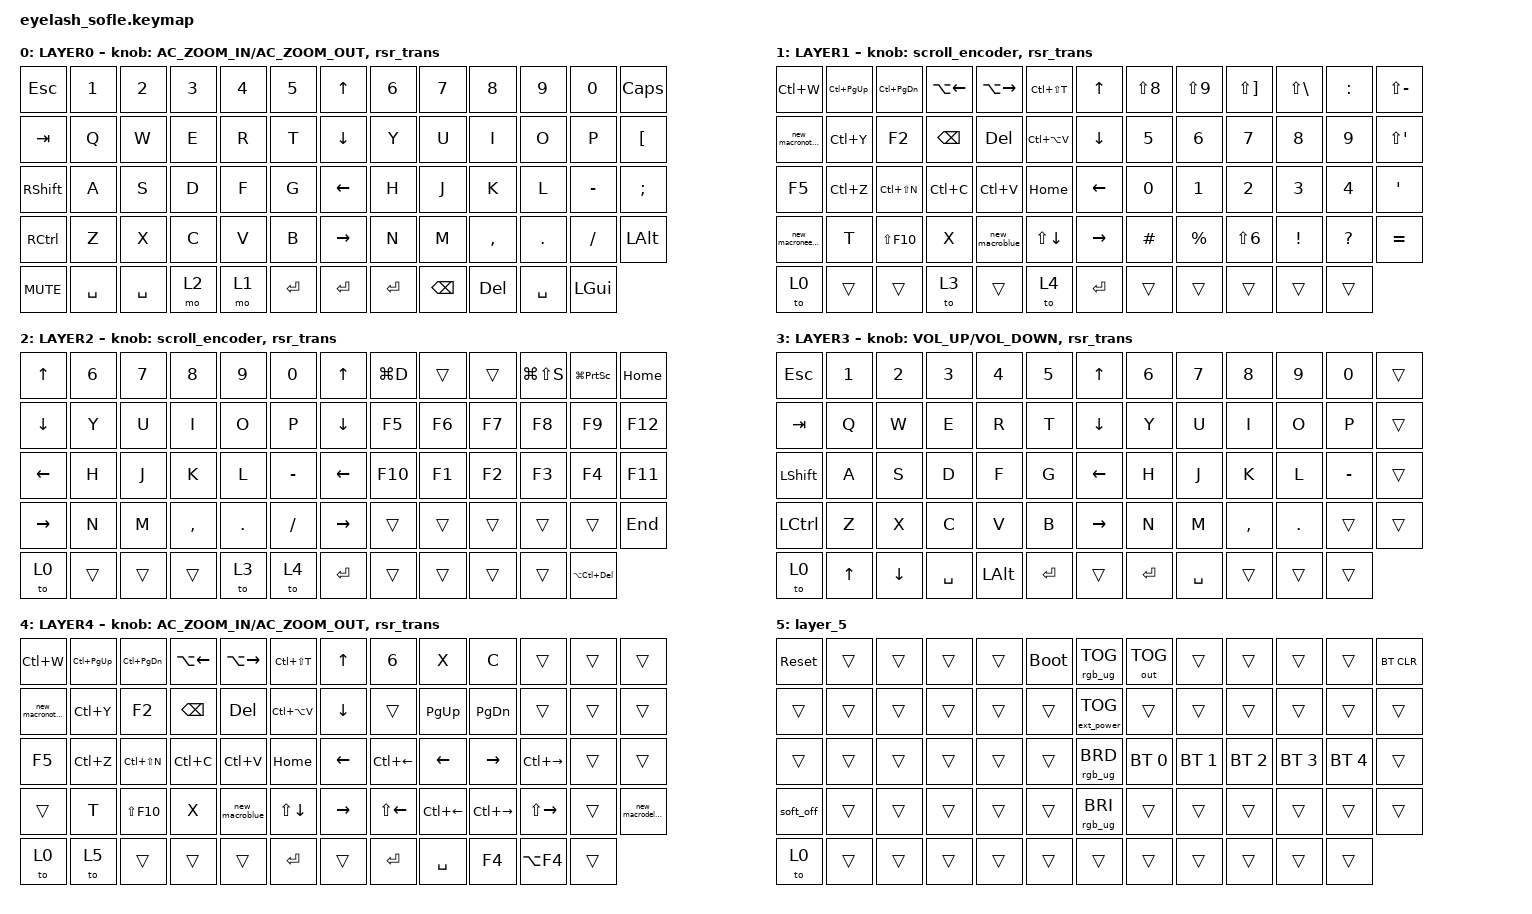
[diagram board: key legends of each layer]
#define ZMK_POINTING_DEFAULT_MOVE_VAL 1200  // 600
#define ZMK_POINTING_DEFAULT_SCRL_VAL 25   // 10

#include <input/processors.dtsi>
#include <zephyr/dt-bindings/input/input-event-codes.h>
#include <behaviors/runtime-sensor-rotate.dtsi>
#include <behaviors.dtsi>
#include <dt-bindings/zmk/bt.h>
#include <dt-bindings/zmk/ext_power.h>
#include <dt-bindings/zmk/keys.h>
#include <dt-bindings/zmk/outputs.h>
#include <dt-bindings/zmk/pointing.h>
#include <dt-bindings/zmk/rgb.h>

&mmv_input_listener { input-processors = <&zip_xy_scaler 2 1>; };

&msc_input_listener { input-processors = <&zip_scroll_scaler 2 1>; };

&msc {
    acceleration-exponent = <1>;      // 0
    time-to-max-speed-ms = <100>;       // 300
    delay-ms = <0>;                   // 0
};

&mmv {
    time-to-max-speed-ms = <500>;
    acceleration-exponent = <1>;
    trigger-period-ms = <16>;
};

&soft_off { hold-time-ms = <2000>; };

/ {
    scroll_encoder: scroll_encoder {
        compatible = "zmk,behavior-sensor-rotate";
        #sensor-binding-cells = <0>;
        bindings = <&msc SCRL_DOWN>, <&msc SCRL_UP>;

        tap-ms = <100>;
    };

    behaviors {
        rsr_vol: rsr_vol {
            compatible = "zmk,behavior-runtime-sensor-rotate";
            #sensor-binding-cells = <0>;
            tap-ms = <5>;
            cw-binding = <&kp C_VOL_UP>;
            ccw-binding = <&kp C_VOL_DN>;
        };

        rsr_trans: rsr_trans {
            compatible = "zmk,behavior-runtime-sensor-rotate";
            #sensor-binding-cells = <0>;
            tap-ms = <0>;
        };
    };

    combos {
        compatible = "zmk,combos";

        softoff {
            bindings = <&soft_off>;
            key-positions = <14 28 40>;
        };
    };

    macros {
        new_macromenu: new_macromenu {
            compatible = "zmk,behavior-macro";
            #binding-cells = <0>;
            bindings = <&kp LS(F10)>, <&macro_wait_time 300>, <&kp W>;

            label = "NEW_MACROMENU";
        };

        new_macroblue: new_macroblue {
            compatible = "zmk,behavior-macro";
            #binding-cells = <0>;
            bindings = <&kp F &kp NUMBER_5>;
            label = "NEW_MACROBLUE";
        };

        new_macrored: new_macrored {
            compatible = "zmk,behavior-macro";
            #binding-cells = <0>;
            bindings = <&kp F &kp NUMBER_2>;
            label = "NEW_MACRORED";
        };

        new_macroneebiew: new_macroneebiew {
            compatible = "zmk,behavior-macro";
            #binding-cells = <0>;
            bindings = <&kp H &kp ENTER>;
            label = "NEW_MACRONEEBIEW";
        };

        new_macroclear: new_macroclear {
            compatible = "zmk,behavior-macro";
            #binding-cells = <0>;
            bindings = <&kp F &kp NUMBER_0>;
            label = "NEW_MACROCLEAR";
        };

        new_macrodelete: new_macrodelete {
            compatible = "zmk,behavior-macro";
            #binding-cells = <0>;
            bindings = <&kp LS(DELETE) &kp Y>;
            label = "NEW_MACRODELETE";
        };

        new_macronotrobot: new_macronotrobot {
            compatible = "zmk,behavior-macro";
            #binding-cells = <0>;
            bindings = <&kp TAB &kp SPACE>;
            label = "NEW_MACRONOTROBOT";
        };
    };

    keymap {
        compatible = "zmk,keymap";

        layer_0 {
            bindings = <
&kp ESC            &kp N1     &kp N2     &kp N3  &kp N4  &kp N5        &kp UP_ARROW     &kp N6      &kp N7         &kp N8      &kp N9     &kp N0        &kp CAPSLOCK
&kp TAB            &kp Q      &kp W      &kp E   &kp R   &kp T         &kp DOWN_ARROW   &kp Y       &kp U          &kp I       &kp O      &kp P         &kp LEFT_BRACKET
&kp RIGHT_SHIFT    &kp A      &kp S      &kp D   &kp F   &kp G         &kp LEFT_ARROW   &kp H       &kp J          &kp K       &kp L      &kp MINUS     &kp SEMICOLON
&kp RIGHT_CONTROL  &kp Z      &kp X      &kp C   &kp V   &kp B         &kp RIGHT_ARROW  &kp N       &kp M          &kp COMMA   &kp DOT    &kp FSLH      &kp LEFT_ALT
&kp C_MUTE         &kp SPACE  &kp SPACE  &mo 2   &mo 1   &kp RETURN    &kp ENTER        &kp RETURN  &kp BACKSPACE  &kp DELETE  &kp SPACE  &kp LEFT_GUI
            >;

            sensor-bindings =
                <&inc_dec_kp C_AC_ZOOM_IN C_AC_ZOOM_OUT>,
                <&rsr_trans>;

            display-name = "LAYER0";
        };

        layer_1 {
            bindings = <
&kp LC(W)           &kp LC(PAGE_UP)  &kp LC(PAGE_DOWN)  &kp LA(LEFT_ARROW)  &kp LA(RIGHT_ARROW)  &kp LC(LS(T))         &kp UP_ARROW     &kp LS(NUMBER_8)  &kp LS(NUMBER_9)  &kp LS(RIGHT_BRACKET)  &kp LS(BACKSLASH)  &kp COLON     &kp LS(MINUS)
&new_macronotrobot  &kp LC(Y)        &kp F2             &kp BACKSPACE       &kp DELETE           &kp LC(LA(V))         &kp DOWN_ARROW   &kp N5            &kp NUMBER_6      &kp NUMBER_7           &kp NUMBER_8       &kp NUMBER_9  &kp LS(APOSTROPHE)
&kp F5              &kp LC(Z)        &kp LC(LS(N))      &kp LC(C)           &kp LC(V)            &kp HOME              &kp LEFT_ARROW   &kp NUMBER_0      &kp NUMBER_1      &kp NUMBER_2           &kp NUMBER_3       &kp NUMBER_4  &kp APOSTROPHE
&new_macroneebiew   &kp T            &kp LS(F10)        &kp X               &new_macroblue       &kp LS(DOWN_ARROW)    &kp RIGHT_ARROW  &kp HASH          &kp PERCENT       &kp LS(NUMBER_6)       &kp EXCLAMATION    &kp QUESTION  &kp EQUAL
&to 0               &trans           &trans             &to 3               &trans               &to 4                 &kp RETURN       &trans            &trans            &trans                 &trans             &trans
            >;

            sensor-bindings = <&scroll_encoder>, <&rsr_trans>;

            display-name = "LAYER1";
        };

        layer_2 {
            bindings = <
&kp UP_ARROW     &kp NUMBER_6  &kp NUMBER_7  &kp NUMBER_8  &kp NUMBER_9  &kp NUMBER_0    &kp UP_ARROW     &kp LG(D)  &trans  &trans  &kp LG(LS(S))  &kp LG(PRINTSCREEN)  &kp HOME
&kp DOWN_ARROW   &kp Y         &kp U         &kp I         &kp O         &kp P           &kp DOWN_ARROW   &kp F5     &kp F6  &kp F7  &kp F8         &kp F9               &kp F12
&kp LEFT_ARROW   &kp H         &kp J         &kp K         &kp L         &kp MINUS       &kp LEFT_ARROW   &kp F10    &kp F1  &kp F2  &kp F3         &kp F4               &kp F11
&kp RIGHT_ARROW  &kp N         &kp M         &kp COMMA     &kp PERIOD    &kp SLASH       &kp RIGHT_ARROW  &trans     &trans  &trans  &trans         &trans               &kp END
&to 0            &trans        &trans        &trans        &to 3         &to 4           &kp ENTER        &trans     &trans  &trans  &trans         &kp LA(LC(DELETE))
            >;

            display-name = "LAYER2";
            sensor-bindings = <&scroll_encoder>, <&rsr_trans>;
        };

        layer_3 {
            bindings = <
&kp ESCAPE        &kp NUMBER_1  &kp NUMBER_2    &kp NUMBER_3  &kp NUMBER_4  &kp NUMBER_5    &kp UP_ARROW     &kp NUMBER_6  &kp NUMBER_7  &kp NUMBER_8  &kp NUMBER_9  &kp NUMBER_0  &trans
&kp TAB           &kp Q         &kp W           &kp E         &kp R         &kp T           &kp DOWN_ARROW   &kp Y         &kp U         &kp I         &kp O         &kp P         &trans
&kp LEFT_SHIFT    &kp A         &kp S           &kp D         &kp F         &kp G           &kp LEFT_ARROW   &kp H         &kp J         &kp K         &kp L         &kp MINUS     &trans
&kp LEFT_CONTROL  &kp Z         &kp X           &kp C         &kp V         &kp B           &kp RIGHT_ARROW  &kp N         &kp M         &kp COMMA     &kp PERIOD    &trans        &trans
&to 0             &kp UP_ARROW  &kp DOWN_ARROW  &kp SPACE     &kp LEFT_ALT  &kp ENTER       &trans           &kp ENTER     &kp SPACE     &trans        &trans        &trans
            >;

            display-name = "LAYER3";
            sensor-bindings =
                <&inc_dec_kp C_VOLUME_UP C_VOLUME_DOWN>,
                <&rsr_trans>;
        };

        layer_4 {
            bindings = <
&kp LC(W)           &kp LC(PAGE_UP)  &kp LC(PAGE_DOWN)  &kp LA(LEFT_ARROW)  &kp LA(RIGHT_ARROW)  &kp LC(LS(T))         &kp UP_ARROW     &kp NUMBER_6        &kp X               &kp C                &trans               &trans  &trans
&new_macronotrobot  &kp LC(Y)        &kp F2             &kp BACKSPACE       &kp DELETE           &kp LC(LA(V))         &kp DOWN_ARROW   &trans              &kp PAGE_UP         &kp PAGE_DOWN        &trans               &trans  &trans
&kp F5              &kp LC(Z)        &kp LC(LS(N))      &kp LC(C)           &kp LC(V)            &kp HOME              &kp LEFT_ARROW   &kp LC(LEFT_ARROW)  &kp LEFT_ARROW      &kp RIGHT_ARROW      &kp LC(RIGHT_ARROW)  &trans  &trans
&trans              &kp T            &kp LS(F10)        &kp X               &new_macroblue       &kp LS(DOWN_ARROW)    &kp RIGHT_ARROW  &kp LS(LEFT_ARROW)  &kp LC(LEFT_ARROW)  &kp LC(RIGHT_ARROW)  &kp LS(RIGHT_ARROW)  &trans  &new_macrodelete
&to 0               &to 5            &trans             &trans              &trans               &kp ENTER             &trans           &kp ENTER           &kp SPACE           &kp F4               &kp LA(F4)           &trans
            >;

            display-name = "LAYER4";
            sensor-bindings =
                <&inc_dec_kp C_AC_ZOOM_IN C_AC_ZOOM_OUT>,
                <&rsr_trans>;
        };

        layer_5 {
            bindings = <
&sys_reset  &trans  &trans  &trans  &trans  &bootloader    &rgb_ug RGB_TOG    &out OUT_TOG  &trans        &trans        &trans        &trans        &bt BT_CLR
&trans      &trans  &trans  &trans  &trans  &trans         &ext_power EP_TOG  &trans        &trans        &trans        &trans        &trans        &trans
&trans      &trans  &trans  &trans  &trans  &trans         &rgb_ug RGB_BRD    &bt BT_SEL 0  &bt BT_SEL 1  &bt BT_SEL 2  &bt BT_SEL 3  &bt BT_SEL 4  &trans
&soft_off   &trans  &trans  &trans  &trans  &trans         &rgb_ug RGB_BRI    &trans        &trans        &trans        &trans        &trans        &trans
&to 0       &trans  &trans  &trans  &trans  &trans         &trans             &trans        &trans        &trans        &trans        &trans
            >;
        };
    };
};
